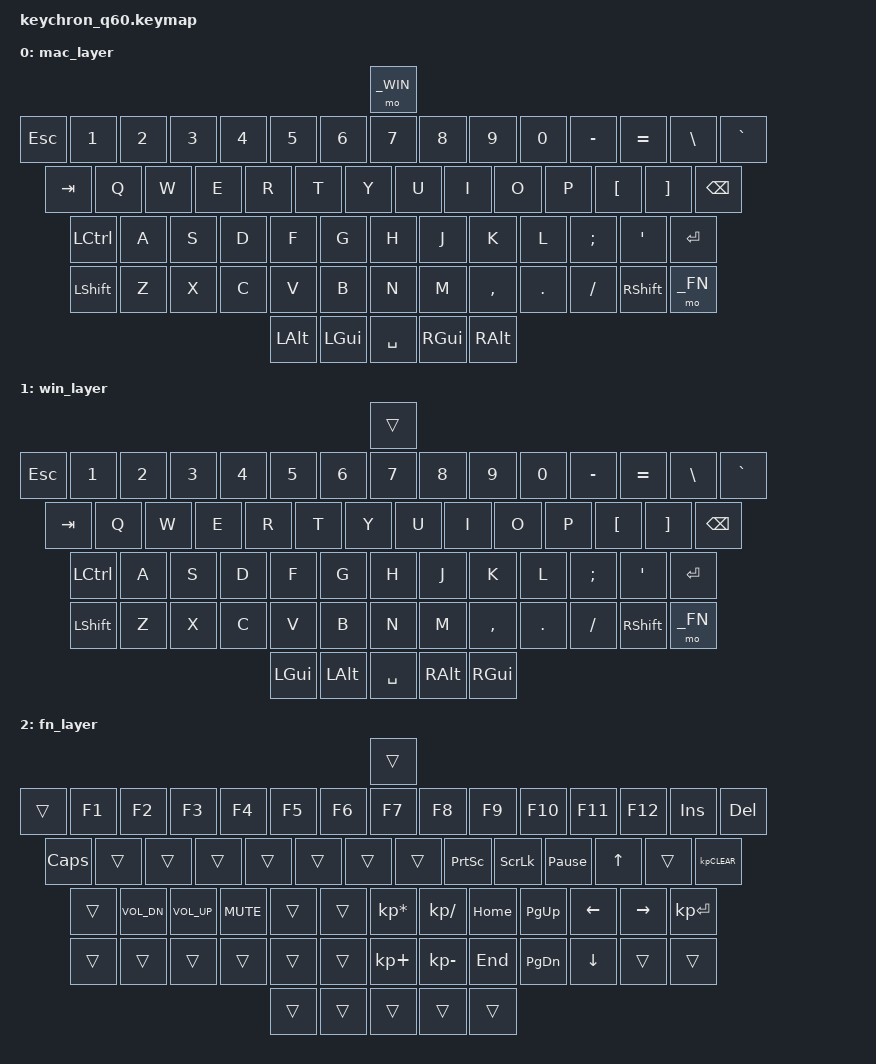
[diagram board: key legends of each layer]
/*
 * Copyright (c) 2023 The ZMK Contributors
 * SPDX-License-Identifier: MIT
 */

#include <behaviors.dtsi>
#include <dt-bindings/zmk/keys.h>

#define _MAC  0
#define _WIN  1
#define _FN  2

/ {
    keymap {
        compatible = "zmk,keymap";

        mac_layer {
//        [DIP-SW]
// ------------------------------------------------------------------------------------------
// | ESC |  1  |  2  |  3  |  4  |  5  |  6  |  7  |  8  |  9  |  0  |  -  |  =  | "|" |  `  |
// | TAB  |  Q  |  W  |  E  |  R  |  T  |  Y  |  U  |  I  |  O  |  P  |  [  |  ]  |  BKSPC   |
// | CTRL  |  A  |  S  |  D  |  F  |  G  |  H  |  J  |  K  |  L  |  ;  |  '  |     ENTER     |
// |  SHIFT  |  Z  |  X  |  C  |  V  |  B  |  N  |  M  |  ,  |  .  |  /  |   SHIFT     | fn  |
//       | ALT |  GUI   |            SPACE                       |  GUI   | ALT |
//       ------------------------------------------------------------------------
            bindings = <
/* DIP-SW */
&mo _WIN

&kp ESC &kp N1 &kp N2 &kp N3 &kp N4 &kp N5 &kp N6 &kp N7 &kp N8 &kp N9 &kp N0 &kp MINUS &kp EQUAL &kp BSLH &kp GRAV
&kp TAB  &kp Q  &kp W  &kp E  &kp R  &kp T  &kp Y  &kp U  &kp I  &kp O  &kp P  &kp LBKT  &kp RBKT &kp BSPC
&kp LCTRL &kp A  &kp S  &kp D  &kp F  &kp G  &kp H  &kp J  &kp K  &kp L  &kp SEMI &kp SQT         &kp RET
&kp LSHFT   &kp Z  &kp X  &kp C  &kp V  &kp B  &kp N  &kp M  &kp COMMA &kp DOT &kp FSLH &kp RSHFT &mo _FN
        &kp LALT &kp LGUI                      &kp SPACE                              &kp RGUI &kp RALT
            >;
        };
        win_layer {
//        [DIP-SW]
// ------------------------------------------------------------------------------------------
// | ESC |  1  |  2  |  3  |  4  |  5  |  6  |  7  |  8  |  9  |  0  |  -  |  =  | "|" |  `  |
// | TAB  |  Q  |  W  |  E  |  R  |  T  |  Y  |  U  |  I  |  O  |  P  |  [  |  ]  |  BKSPC   |
// | CTRL  |  A  |  S  |  D  |  F  |  G  |  H  |  J  |  K  |  L  |  ;  |  '  |     ENTER     |
// |  SHIFT  |  Z  |  X  |  C  |  V  |  B  |  N  |  M  |  ,  |  .  |  /  |   SHIFT     | fn  |
//       | ALT |  GUI   |            SPACE                       |  GUI   | ALT |
//       ------------------------------------------------------------------------
            bindings = <
/* DIP-SW */
&trans

&kp ESC &kp N1 &kp N2 &kp N3 &kp N4 &kp N5 &kp N6 &kp N7 &kp N8 &kp N9 &kp N0 &kp MINUS &kp EQUAL &kp BSLH &kp GRAV
&kp TAB  &kp Q  &kp W  &kp E  &kp R  &kp T  &kp Y  &kp U  &kp I  &kp O  &kp P  &kp LBKT  &kp RBKT &kp BSPC
&kp LCTRL &kp A  &kp S  &kp D  &kp F  &kp G  &kp H  &kp J  &kp K  &kp L  &kp SEMI &kp SQT         &kp RET
&kp LSHFT   &kp Z  &kp X  &kp C  &kp V  &kp B  &kp N  &kp M  &kp COMMA &kp DOT &kp FSLH &kp RSHFT &mo _FN
        &kp LGUI &kp LALT                 &kp SPACE                              &kp RALT &kp RGUI
            >;
        };

        fn_layer {
//        [DIP-SW]
// ------------------------------------------------------------------------------------------
// | --- | F1  | F2  | F3  | F4  | F5  | F6  | F7  | F8  | F9  | F10 | F11 | F12 | INS | DEL |
// | ---  | --- |  UP | --- | --- | --- | --- | --- |PSCRN|SLCK |PAUSE| UP  | --- | [CLEAR]  |
// |  ---  |VOLD |VOLU |MUTE | --- | --- | [*] | [/] |HOME |PGUP | LT  | RT  |    [ENTER]    |
// |  ---    | --- | --- | --- | --- | --- | [+] | [-] | END |PGDN | DN  |    ---      | --- |
//       | --- |  ---   |            ---                         |  ---   | --- |
//       ------------------------------------------------------------------------
            bindings = <
/* DIP-SW */
&trans

&trans  &kp F1       &kp F2       &kp F3     &kp F4 &kp F5 &kp F6          &kp F7        &kp F8    &kp F9    &kp F10         &kp F11 &kp F12 &kp INS &kp DEL
&kp CAPS &trans       &trans       &trans     &trans &trans &trans          &trans        &kp PSCRN &kp SLCK  &kp PAUSE_BREAK &kp UP  &trans &kp KP_CLEAR
&trans    &kp C_VOL_DN &kp C_VOL_UP &kp C_MUTE &trans &trans &kp KP_MULTIPLY &kp KP_DIVIDE &kp HOME  &kp PG_UP  &kp LEFT       &kp RIGHT     &kp KP_ENTER
&trans      &trans       &trans      &trans      &trans &trans &kp KP_PLUS     &kp KP_MINUS  &kp END   &kp PG_DN &kp DOWN                    &trans &trans
        &trans   &trans                              &trans                                                       &trans   &trans
            >;
        };
    };
};
